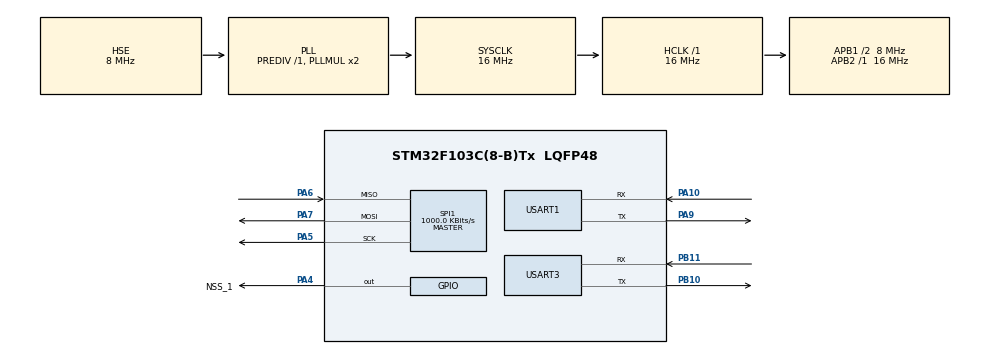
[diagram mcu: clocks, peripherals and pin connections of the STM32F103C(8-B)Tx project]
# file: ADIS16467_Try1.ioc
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Dma.Request0=USART1_TX
Dma.USART1_TX.0.Direction=DMA_MEMORY_TO_PERIPH
Dma.USART1_TX.0.Instance=DMA1_Channel4
Dma.USART1_TX.0.MemDataAlignment=DMA_MDATAALIGN_BYTE
Dma.USART1_TX.0.MemInc=DMA_MINC_ENABLE
Dma.USART1_TX.0.Mode=DMA_NORMAL
Dma.USART1_TX.0.PeriphDataAlignment=DMA_PDATAALIGN_WORD
Dma.USART1_TX.0.PeriphInc=DMA_PINC_DISABLE
Dma.USART1_TX.0.Priority=DMA_PRIORITY_LOW
Mcu.Family=STM32F1
Mcu.Name=STM32F103C(8-B)Tx
Mcu.Package=LQFP48
NVIC.DMA1_Channel4_IRQn=true\:0\:0\:false\:false\:true\:false\:true\:true
NVIC.PriorityGroup=NVIC_PRIORITYGROUP_4
PA10.Mode=Asynchronous
PA10.Signal=USART1_RX
PA13.Mode=Serial_Wire
PA13.Signal=SYS_JTMS-SWDIO
PA14.Mode=Serial_Wire
PA14.Signal=SYS_JTCK-SWCLK
PA4.GPIO_Label=NSS_1
PA4.GPIO_ModeDefaultOutputPP=GPIO_MODE_OUTPUT_OD
PA4.GPIO_PuPd=GPIO_PULLUP
PA4.GPIO_Speed=GPIO_SPEED_FREQ_HIGH
PA4.PinState=GPIO_PIN_SET
PA4.Signal=GPIO_Output
PA5.Mode=Full_Duplex_Master
PA5.Signal=SPI1_SCK
PA6.Mode=Full_Duplex_Master
PA6.Signal=SPI1_MISO
PA7.Mode=Full_Duplex_Master
PA7.Signal=SPI1_MOSI
PA9.Mode=Asynchronous
PA9.Signal=USART1_TX
PB10.Mode=Asynchronous
PB10.Signal=USART3_TX
PB11.Mode=Asynchronous
PB11.Signal=USART3_RX
PD0-OSC_IN.Mode=HSE-External-Oscillator
PD0-OSC_IN.Signal=RCC_OSC_IN
PD1-OSC_OUT.Mode=HSE-External-Oscillator
PD1-OSC_OUT.Signal=RCC_OSC_OUT
ProjectManager.HeapSize=0x200
ProjectManager.StackSize=0x400
ProjectManager.TargetToolchain=STM32CubeIDE
RCC.AHBFreq_Value=16000000
RCC.APB1CLKDivider=RCC_HCLK_DIV2
RCC.APB1Freq_Value=8000000
RCC.APB1TimFreq_Value=16000000
RCC.APB2Freq_Value=16000000
RCC.APB2TimFreq_Value=16000000
RCC.HCLKFreq_Value=16000000
RCC.PLLSourceVirtual=RCC_PLLSOURCE_HSE
RCC.SYSCLKFreq_VALUE=16000000
RCC.SYSCLKSource=RCC_SYSCLKSOURCE_PLLCLK
RCC.USBFreq_Value=16000000
SPI1.BaudRatePrescaler=SPI_BAUDRATEPRESCALER_16
SPI1.CLKPhase=SPI_PHASE_2EDGE
SPI1.CLKPolarity=SPI_POLARITY_HIGH
SPI1.CalculateBaudRate=1000.0 KBits/s
SPI1.DataSize=SPI_DATASIZE_16BIT
SPI1.Direction=SPI_DIRECTION_2LINES
SPI1.Mode=SPI_MODE_MASTER
SPI1.VirtualType=VM_MASTER
USART1.VirtualMode=VM_ASYNC
USART3.VirtualMode=VM_ASYNC
board=custom

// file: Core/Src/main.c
/* USER CODE BEGIN Header */
/**
  ******************************************************************************
  * @file           : main.c
  * @brief          : Main program body
  ******************************************************************************
  * @attention
  *
  * Copyright (c) 2024 STMicroelectronics.
  * All rights reserved.
  *
  * This software is licensed under terms that can be found in the LICENSE file
  * in the root directory of this software component.
  * If no LICENSE file comes with this software, it is provided AS-IS.
  *
  ******************************************************************************
  */
/* USER CODE END Header */
#include "main.h"
#include "dma.h"
#include "spi.h"
#include "usart.h"
#include "gpio.h"

/* USER CODE BEGIN Includes */
/* USER CODE BEGIN PTD */

/* USER CODE END PTD */

/* Private define ------------------------------------------------------------*/
/* USER CODE BEGIN PD */
#include <stdio.h>
#ifdef __GNUC__
/* With GCC/RAISONANCE, small printf (option LD Linker->Libraries->Small printf
   set to 'Yes') calls __io_putchar() */
#define PUTCHAR_PROTOTYPE int __io_putchar(int ch)
#else
#define PUTCHAR_PROTOTYPE int fputc(int ch, FILE *f)
#endif /* __GNUC__ */

PUTCHAR_PROTOTYPE
{
    HAL_UART_Transmit(&huart3, (uint8_t *)&ch, 1, 0xFFFF);
    return ch;
}

/* USER CODE END PD */
/* USER CODE END Includes */

/* USER CODE BEGIN PD */
#include <stdio.h>
#ifdef __GNUC__
/* With GCC/RAISONANCE, small printf (option LD Linker->Libraries->Small printf
   set to 'Yes') calls __io_putchar() */
#define PUTCHAR_PROTOTYPE int __io_putchar(int ch)
#else
#define PUTCHAR_PROTOTYPE int fputc(int ch, FILE *f)
#endif /* __GNUC__ */

PUTCHAR_PROTOTYPE
{
    HAL_UART_Transmit(&huart1, (uint8_t *)&ch, 1, 0xFFFF);
    return ch;
}

/* USER CODE END PD */

void SystemClock_Config(void);

int main(void)
{

  /* MCU Configuration--------------------------------------------------------*/

  /* Reset of all peripherals, Initializes the Flash interface and the Systick. */
  HAL_Init();

  /* Configure the system clock */
  SystemClock_Config();

  /* Initialize all configured peripherals */
  MX_GPIO_Init();
  MX_DMA_Init();
  MX_SPI1_Init();
  MX_USART1_UART_Init();
  MX_USART3_UART_Init();

  /* Infinite loop */
  while (1)
  {

  }
}

void SystemClock_Config(void)
{
  RCC_OscInitTypeDef RCC_OscInitStruct = {0};
  RCC_ClkInitTypeDef RCC_ClkInitStruct = {0};

  /** Initializes the RCC Oscillators according to the specified parameters
  * in the RCC_OscInitTypeDef structure.
  */
  RCC_OscInitStruct.OscillatorType = RCC_OSCILLATORTYPE_HSE;
  RCC_OscInitStruct.HSEState = RCC_HSE_ON;
  RCC_OscInitStruct.HSEPredivValue = RCC_HSE_PREDIV_DIV1;
  RCC_OscInitStruct.HSIState = RCC_HSI_ON;
  RCC_OscInitStruct.PLL.PLLState = RCC_PLL_ON;
  RCC_OscInitStruct.PLL.PLLSource = RCC_PLLSOURCE_HSE;
  RCC_OscInitStruct.PLL.PLLMUL = RCC_PLL_MUL2;
  if (HAL_RCC_OscConfig(&RCC_OscInitStruct) != HAL_OK)
  {
    Error_Handler();
  }

  /** Initializes the CPU, AHB and APB buses clocks
  */
  RCC_ClkInitStruct.ClockType = RCC_CLOCKTYPE_HCLK|RCC_CLOCKTYPE_SYSCLK
                              |RCC_CLOCKTYPE_PCLK1|RCC_CLOCKTYPE_PCLK2;
  RCC_ClkInitStruct.SYSCLKSource = RCC_SYSCLKSOURCE_PLLCLK;
  RCC_ClkInitStruct.AHBCLKDivider = RCC_SYSCLK_DIV1;
  RCC_ClkInitStruct.APB1CLKDivider = RCC_HCLK_DIV2;
  RCC_ClkInitStruct.APB2CLKDivider = RCC_HCLK_DIV1;

  if (HAL_RCC_ClockConfig(&RCC_ClkInitStruct, FLASH_LATENCY_0) != HAL_OK)
  {
    Error_Handler();
  }
}

void Error_Handler(void)
{
  __disable_irq();
  while (1)
  {
  }
}
